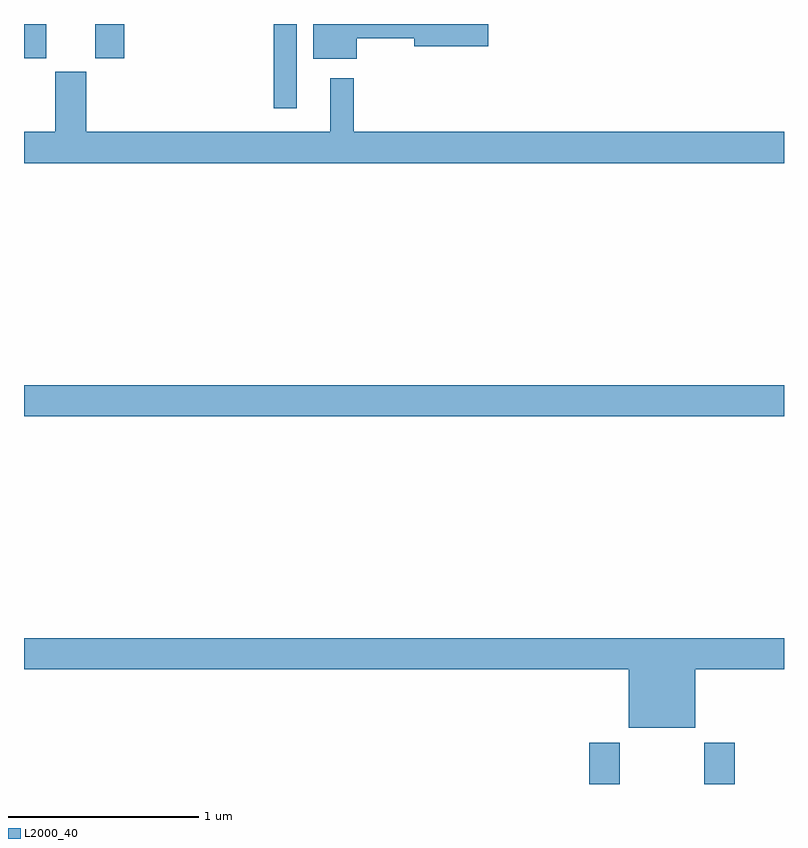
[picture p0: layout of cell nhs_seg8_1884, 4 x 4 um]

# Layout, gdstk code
import gdstk
lib = gdstk.Library(unit=1e-6, precision=1e-09)
def R(c, l, rs):  # rectangles x0, y0, x1, y1
    for r in rs: c.add(gdstk.rectangle(r[:2], r[2:], *l))
def P(c, l, *ps):  # polygons
    for p in ps: c.add(gdstk.Polygon(p, *l))
L2000_40 = (2000, 40)

nhs_seg8_1884 = lib.new_cell('nhs_seg8_1884')
R(nhs_seg8_1884, L2000_40, [(233.975,1111.9,234.135,1112.116), (234.58,1111.9,234.74,1112.116), (231,1113.836,235,1114), (232.314,1115.457,232.435,1115.9), (231,1115.721,231.118,1115.9), (231.374,1115.721,231.527,1115.9)])
P(nhs_seg8_1884, L2000_40, [(232.75,1115.824),(233.054,1115.824),(233.054,1115.782),(233.443,1115.782),(233.443,1115.9),(232.523,1115.9),(232.523,1115.717),(232.75,1115.717)],
  [(235,1115.332),(232.735,1115.332),(232.735,1115.614),(232.613,1115.614),(232.613,1115.332),(231.328,1115.332),(231.328,1115.649),(231.164,1115.649),(231.164,1115.332),(231,1115.332),(231,1115.168),(235,1115.168)],
  [(234.532,1112.504),(235,1112.504),(235,1112.668),(231,1112.668),(231,1112.504),(234.182,1112.504),(234.182,1112.195),(234.532,1112.195)])

lib.write_gds('nhs_seg8_1884.gds')
